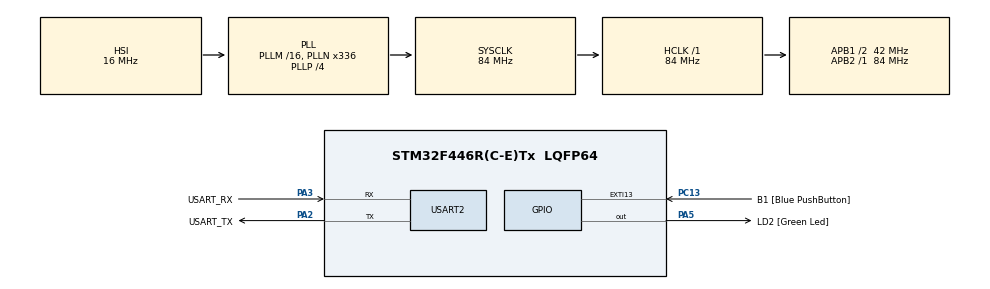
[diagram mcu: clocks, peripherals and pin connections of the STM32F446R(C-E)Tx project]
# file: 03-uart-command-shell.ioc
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Mcu.Family=STM32F4
Mcu.Name=STM32F446R(C-E)Tx
Mcu.Package=LQFP64
NVIC.PriorityGroup=NVIC_PRIORITYGROUP_0
PA13.GPIO_Label=TMS
PA13.Mode=Serial_Wire
PA13.Signal=SYS_JTMS-SWDIO
PA14.GPIO_Label=TCK
PA14.Mode=Serial_Wire
PA14.Signal=SYS_JTCK-SWCLK
PA2.GPIO_Label=USART_TX
PA2.Mode=Asynchronous
PA2.Signal=USART2_TX
PA3.GPIO_Label=USART_RX
PA3.Mode=Asynchronous
PA3.Signal=USART2_RX
PA5.GPIO_Label=LD2 [Green Led]
PA5.Signal=GPIO_Output
PB3.GPIO_Label=SWO
PB3.Signal=SYS_JTDO-SWO
PC13.GPIO_Label=B1 [Blue PushButton]
PC13.GPIO_ModeDefaultEXTI=GPIO_MODE_IT_FALLING
PC13.Signal=GPXTI13
PC14-OSC32_IN.Mode=LSE-External-Oscillator
PC14-OSC32_IN.Signal=RCC_OSC32_IN
PC15-OSC32_OUT.Mode=LSE-External-Oscillator
PC15-OSC32_OUT.Signal=RCC_OSC32_OUT
PH0-OSC_IN.Mode=HSE-External-Oscillator
PH0-OSC_IN.Signal=RCC_OSC_IN
PH1-OSC_OUT.Mode=HSE-External-Oscillator
PH1-OSC_OUT.Signal=RCC_OSC_OUT
ProjectManager.HeapSize=0x200
ProjectManager.StackSize=0x400
ProjectManager.TargetToolchain=STM32CubeIDE
RCC.48MHZClocksFreq_Value=84000000
RCC.AHBFreq_Value=84000000
RCC.APB1CLKDivider=RCC_HCLK_DIV2
RCC.APB1Freq_Value=42000000
RCC.APB1TimFreq_Value=84000000
RCC.APB2Freq_Value=84000000
RCC.APB2TimFreq_Value=84000000
RCC.CortexFreq_Value=84000000
RCC.FLatency-AdvancedSettings=FLASH_LATENCY_2
RCC.HCLKFreq_Value=84000000
RCC.HSE_VALUE=8000000
RCC.HSI_VALUE=16000000
RCC.PLLN=336
RCC.PLLP=RCC_PLLP_DIV4
RCC.SYSCLKFreq_VALUE=84000000
RCC.SYSCLKSource=RCC_SYSCLKSOURCE_PLLCLK
RCC.USBFreq_Value=168000000
RCC.VCOOutputFreq_Value=336000000
USART2.VirtualMode=VM_ASYNC
board=NUCLEO-F446RE

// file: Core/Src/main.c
/* USER CODE BEGIN Header */
/**
  ******************************************************************************
  * @file           : main.c
  * @brief          : Main program body
  ******************************************************************************
  * @attention
  *
  * Copyright (c) 2026 STMicroelectronics.
  * All rights reserved.
  *
  * This software is licensed under terms that can be found in the LICENSE file
  * in the root directory of this software component.
  * If no LICENSE file comes with this software, it is provided AS-IS.
  *
  ******************************************************************************
  */
/* USER CODE END Header */
#include "main.h"

/* USER CODE BEGIN Includes */
#include <stdio.h>
#include <string.h>
/* USER CODE END Includes */

UART_HandleTypeDef huart2;

void SystemClock_Config(void);
static void MX_GPIO_Init(void);
static void MX_USART2_UART_Init(void);

int main(void)
{

  /* MCU Configuration--------------------------------------------------------*/

  /* Reset of all peripherals, Initializes the Flash interface and the Systick. */
  HAL_Init();

  /* Configure the system clock */
  SystemClock_Config();

  /* Initialize all configured peripherals */
  MX_GPIO_Init();
  MX_USART2_UART_Init();
  /* USER CODE BEGIN 2 */
  printf("\r\nBoard started...\r\n");
  char line[64];
  int idx = 0;
  printf("> ");
  fflush(stdout);
  /* USER CODE END 2 */

  /* Infinite loop */
  while (1)
  {

    /* USER CODE BEGIN 3 */
	uint8_t ch;

	if(HAL_UART_Receive(&huart2, &ch, 1, HAL_MAX_DELAY) == HAL_OK)
	{
	  HAL_UART_Transmit(&huart2, &ch, 1, HAL_MAX_DELAY);

	  if(ch == '\r')
	  {
	    line[idx] = '\0';
	    if(strcmp(line, "help") == 0)
	    {
	      printf("\r\nList of commands available: help, led on, led off, led toggle.\r\n");
	    }

	    else if(strcmp(line, "led toggle") == 0)
	    {
	      printf("\r\nLED LD2 state TOGGLED\r\n");
	      HAL_GPIO_TogglePin(LD2_GPIO_Port, LD2_Pin);
	    }

	    else if(strcmp(line, "led on") == 0)
	    {
	      printf("\r\nLED LD2 turned ON\r\n");
	      HAL_GPIO_WritePin(LD2_GPIO_Port, LD2_Pin, GPIO_PIN_SET);
	    }

	    else if(strcmp(line, "led off") == 0)
	    {
	      printf("\r\nLED LD2 turned OFF\r\n");
	      HAL_GPIO_WritePin(LD2_GPIO_Port, LD2_Pin, GPIO_PIN_RESET);
	    }

	    else
	      printf("\r\nUnknown command entered: %s. Type \'help\' for list of known commands!\r\n", line);

	    printf("> ");
	    fflush(stdout);
		idx = 0;
	  }
	  else if(idx < sizeof(line) - 1)
	    line[idx++] = ch;
	}
  }
  /* USER CODE END 3 */
}

void SystemClock_Config(void)
{
  RCC_OscInitTypeDef RCC_OscInitStruct = {0};
  RCC_ClkInitTypeDef RCC_ClkInitStruct = {0};

  /** Configure the main internal regulator output voltage
  */
  __HAL_RCC_PWR_CLK_ENABLE();
  __HAL_PWR_VOLTAGESCALING_CONFIG(PWR_REGULATOR_VOLTAGE_SCALE3);

  /** Initializes the RCC Oscillators according to the specified parameters
  * in the RCC_OscInitTypeDef structure.
  */
  RCC_OscInitStruct.OscillatorType = RCC_OSCILLATORTYPE_HSI;
  RCC_OscInitStruct.HSIState = RCC_HSI_ON;
  RCC_OscInitStruct.HSICalibrationValue = RCC_HSICALIBRATION_DEFAULT;
  RCC_OscInitStruct.PLL.PLLState = RCC_PLL_ON;
  RCC_OscInitStruct.PLL.PLLSource = RCC_PLLSOURCE_HSI;
  RCC_OscInitStruct.PLL.PLLM = 16;
  RCC_OscInitStruct.PLL.PLLN = 336;
  RCC_OscInitStruct.PLL.PLLP = RCC_PLLP_DIV4;
  RCC_OscInitStruct.PLL.PLLQ = 2;
  RCC_OscInitStruct.PLL.PLLR = 2;
  if (HAL_RCC_OscConfig(&RCC_OscInitStruct) != HAL_OK)
  {
    Error_Handler();
  }

  /** Initializes the CPU, AHB and APB buses clocks
  */
  RCC_ClkInitStruct.ClockType = RCC_CLOCKTYPE_HCLK|RCC_CLOCKTYPE_SYSCLK
                              |RCC_CLOCKTYPE_PCLK1|RCC_CLOCKTYPE_PCLK2;
  RCC_ClkInitStruct.SYSCLKSource = RCC_SYSCLKSOURCE_PLLCLK;
  RCC_ClkInitStruct.AHBCLKDivider = RCC_SYSCLK_DIV1;
  RCC_ClkInitStruct.APB1CLKDivider = RCC_HCLK_DIV2;
  RCC_ClkInitStruct.APB2CLKDivider = RCC_HCLK_DIV1;

  if (HAL_RCC_ClockConfig(&RCC_ClkInitStruct, FLASH_LATENCY_2) != HAL_OK)
  {
    Error_Handler();
  }
}

static void MX_USART2_UART_Init(void)
{

  huart2.Instance = USART2;
  huart2.Init.BaudRate = 115200;
  huart2.Init.WordLength = UART_WORDLENGTH_8B;
  huart2.Init.StopBits = UART_STOPBITS_1;
  huart2.Init.Parity = UART_PARITY_NONE;
  huart2.Init.Mode = UART_MODE_TX_RX;
  huart2.Init.HwFlowCtl = UART_HWCONTROL_NONE;
  huart2.Init.OverSampling = UART_OVERSAMPLING_16;
  if (HAL_UART_Init(&huart2) != HAL_OK)
  {
    Error_Handler();
  }

}

static void MX_GPIO_Init(void)
{
  GPIO_InitTypeDef GPIO_InitStruct = {0};

  /* GPIO Ports Clock Enable */
  __HAL_RCC_GPIOC_CLK_ENABLE();
  __HAL_RCC_GPIOH_CLK_ENABLE();
  __HAL_RCC_GPIOA_CLK_ENABLE();
  __HAL_RCC_GPIOB_CLK_ENABLE();

  /*Configure GPIO pin Output Level */
  HAL_GPIO_WritePin(LD2_GPIO_Port, LD2_Pin, GPIO_PIN_RESET);

  /*Configure GPIO pin : B1_Pin */
  GPIO_InitStruct.Pin = B1_Pin;
  GPIO_InitStruct.Mode = GPIO_MODE_IT_FALLING;
  GPIO_InitStruct.Pull = GPIO_NOPULL;
  HAL_GPIO_Init(B1_GPIO_Port, &GPIO_InitStruct);

  /*Configure GPIO pin : LD2_Pin */
  GPIO_InitStruct.Pin = LD2_Pin;
  GPIO_InitStruct.Mode = GPIO_MODE_OUTPUT_PP;
  GPIO_InitStruct.Pull = GPIO_NOPULL;
  GPIO_InitStruct.Speed = GPIO_SPEED_FREQ_LOW;
  HAL_GPIO_Init(LD2_GPIO_Port, &GPIO_InitStruct);

}

/* USER CODE BEGIN 4 */
int _write(int file, char *ptr, int len)
{
  HAL_UART_Transmit(&huart2, (uint8_t *)ptr, len, HAL_MAX_DELAY);
  return len;
}
/* USER CODE END 4 */

void Error_Handler(void)
{
  __disable_irq();
  while (1)
  {
  }
}
